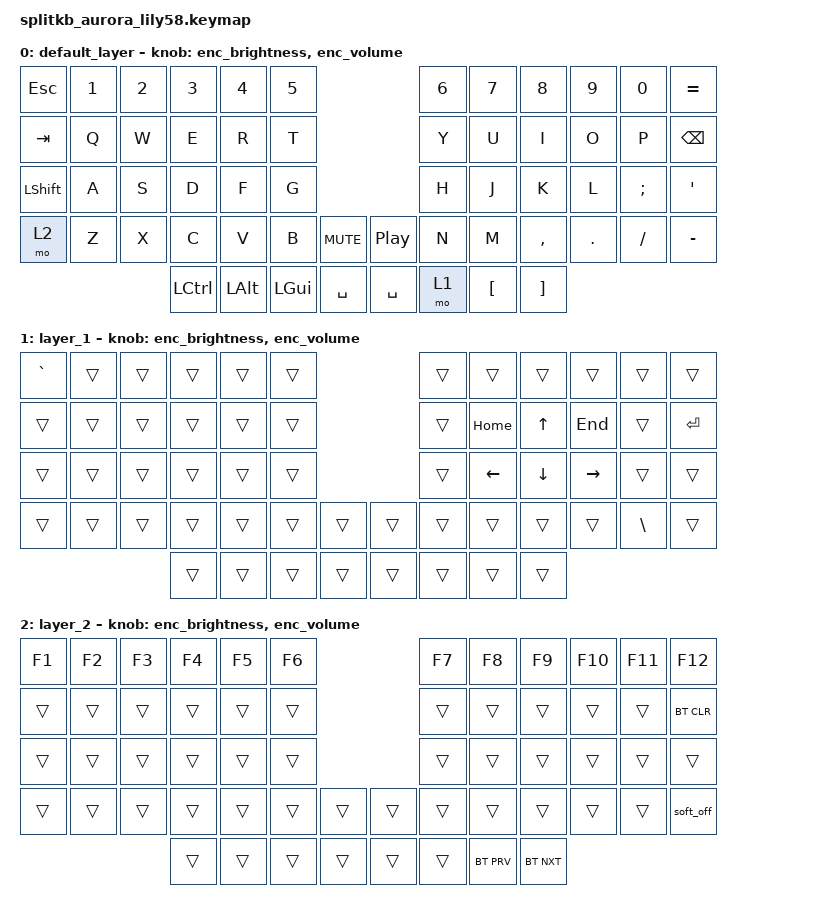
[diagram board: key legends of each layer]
#include <behaviors.dtsi>
#include <dt-bindings/zmk/keys.h>
#include <dt-bindings/zmk/bt.h>
#include <dt-bindings/zmk/ext_power.h>

// Nice!view CS pin configuration for P1.01
&nice_view_spi {
    cs-gpios = <&gpio1 1 GPIO_ACTIVE_HIGH>;
};

/ {
    // Custom encoder rotation behaviors
    behaviors {
        enc_brightness: enc_brightness {
            compatible = "zmk,behavior-sensor-rotate";
            #sensor-binding-cells = <0>;
            bindings = <&kp C_BRIGHTNESS_DEC>, <&kp C_BRIGHTNESS_INC>;
        };

        enc_volume: enc_volume {
            compatible = "zmk,behavior-sensor-rotate";
            #sensor-binding-cells = <0>;
            bindings = <&kp C_VOLUME_DOWN>, <&kp C_VOLUME_UP>;
        };
    };

    keymap {
        compatible = "zmk,keymap";

        // ───────────────────────────────
        // Layer 0: Base
        // ───────────────────────────────
        default_layer {
            bindings = <
    &kp ESC   &kp N1 &kp N2 &kp N3   &kp N4   &kp N5                              &kp N6 &kp N7   &kp N8    &kp N9  &kp N0   &kp EQUAL
    &kp TAB   &kp Q  &kp W  &kp E    &kp R    &kp T                               &kp Y  &kp U    &kp I     &kp O   &kp P    &kp BSPC
    &kp LSHFT &kp A  &kp S  &kp D    &kp F    &kp G                               &kp H  &kp J    &kp K     &kp L   &kp SEMI &kp APOS
    &mo 2     &kp Z  &kp X  &kp C    &kp V    &kp B  &kp C_MUTE &kp C_PLAY_PAUSE  &kp N  &kp M    &kp COMMA &kp DOT &kp FSLH &kp MINUS
                            &kp LCTRL &kp LALT &kp LGUI &kp SPACE  &kp SPACE &mo 1  &kp LBKT &kp RBKT
            >;

            sensor-bindings = <&enc_brightness>, <&enc_volume>;
        };

        // ───────────────────────────────
        // Layer 1: Navigation (held via &mo 1)
        // ───────────────────────────────
        layer_1 {
            bindings = <
    &kp GRAVE &trans &trans &trans &trans &trans                          &trans &trans   &trans    &trans    &trans      &trans
    &trans    &trans &trans &trans &trans &trans                          &trans &kp HOME &kp UP    &kp END   &trans      &kp ENTER
    &trans    &trans &trans &trans &trans &trans                          &trans &kp LEFT &kp DOWN  &kp RIGHT &trans      &trans
    &trans    &trans &trans &trans &trans &trans    &trans  &trans        &trans &trans   &trans    &trans    &kp BSLH    &trans
                  &trans &trans &trans &trans                          &trans &trans   &trans    &trans
            >;

            sensor-bindings = <&enc_brightness>, <&enc_volume>;
        };

        // ───────────────────────────────
        // Layer 2: Function keys (held via &mo 2)
        // ───────────────────────────────
        layer_2 {
            bindings = <
    &kp F1 &kp F2 &kp F3 &kp F4 &kp F5 &kp F6                   &kp F7   &kp F8   &kp F9   &kp F10  &kp F11 &kp F12
    &trans &trans &trans &trans &trans &trans                   &trans   &trans   &trans   &trans   &trans  &bt BT_CLR
    &trans &trans &trans &trans &trans &trans                   &trans   &trans   &trans   &trans   &trans  &trans
    &trans &trans &trans &trans &trans &trans    &trans &trans  &trans   &trans   &trans   &trans   &trans  &soft_off
                  &trans &trans &trans &trans                   &trans &trans &bt BT_PRV &bt BT_NXT
            >;

            sensor-bindings = <&enc_brightness>, <&enc_volume>;
        };
    };
};
